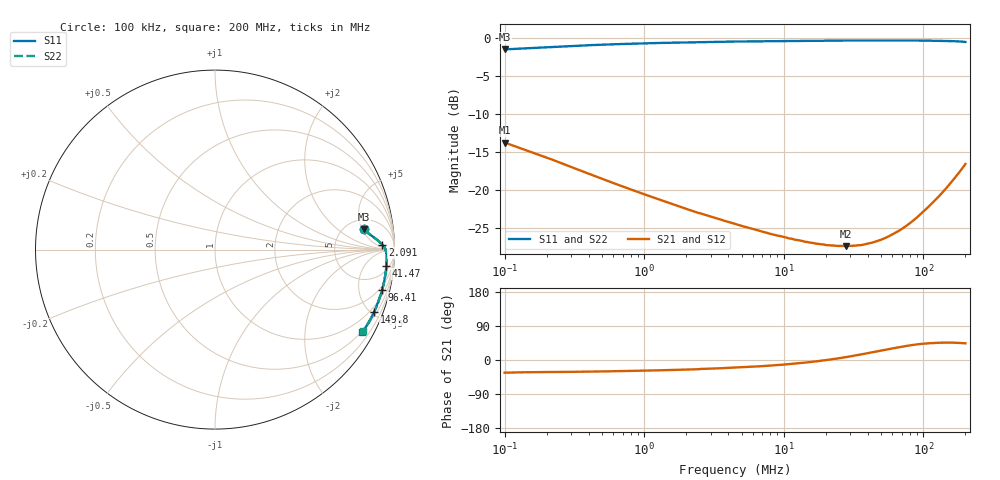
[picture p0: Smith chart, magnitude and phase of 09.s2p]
#  HZ  S  RI  R  50.00
! Rohde & Schwarz Vector Network Analyzer
! Rohde-Schwarz,ZNLE6-2Port,1323001256200024,1.71.1.10-23.02.1.238
! Created: UTC 4/11/2025, 7:02:53 AM
! freq[Hz]  re:S11  im:S11  re:S21  im:S21  re:S12  im:S12  re:S22  im:S22
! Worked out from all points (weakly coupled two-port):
!   1001 points, 100 kHz to 200 MHz, reference 50 ohm
!   highest |S21| = -13.77 dB at 100 kHz (marker M1); lowest = -27.4 dB at 27.72 MHz (marker M2)
!   lowest |S11| = -1.5 dB at 100 kHz (marker M3), VSWR 11.39, Z = 360 + j273 ohm
!   |S11| at or under -10 dB: nowhere
!   |S22| runs from -1.5 to -0.4 dB; largest |S21 - S12| = 0.0028
!   S11 on the Smith chart (normalised r, x): 100 kHz: 7.20, +5.46; 2.091 MHz: 25, +10; 41.47 MHz: 8, -18; 96.41 MHz: 1.51, -8.22; 149.8 MHz: 0.70, -5.19; 200 MHz: 0.49, -3.76
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100000  0.831 0.1124  0.1708 -0.1132  0.1711 -0.1133  0.8307 0.1123
187925.4  0.8596 0.0873  0.1417 -0.0881  0.1419 -0.0882  0.8595 0.0873
355854.1  0.8868 0.0676  0.1144 -0.0685  0.1144 -0.0686  0.8866 0.0676
1266322  0.9232 0.0368  0.0772 -0.0398  0.0772 -0.0399  0.9232 0.0369
2091279  0.9329 0.0271  0.0672 -0.0314  0.0672 -0.0315  0.9329 0.0272
4472136  0.9442 0.0117  0.0563 -0.0205  0.0561 -0.0209  0.9447 0.0134
8796434  0.9513 -0.00495  0.049 -0.0118  0.049 -0.0129  0.9514 -0.00373
1.591428e7  0.9553 -0.0254  0.0448 -0.00391  0.0447 -0.00431  0.9554 -0.0245
2.060734e7  0.9564 -0.0385  0.0434 0.000229  0.0434 -0.00071  0.9565 -0.0369
2.771802e7  0.9568 -0.0569  0.0424 0.0056  0.0425 0.00465  0.957 -0.0551
3.535047e7  0.9561 -0.0764  0.0421 0.0107  0.0422 0.00986  0.9564 -0.074
4.146835e7  0.9552 -0.0915  0.0422 0.0147  0.0424 0.014  0.9556 -0.089
4.864502e7  0.9535 -0.1092  0.0427 0.0192  0.0429 0.0184  0.954 -0.1062
5.663162e7  0.9511 -0.1286  0.0435 0.024  0.0438 0.0231  0.9518 -0.1253
6.643251e7  0.9476 -0.1527  0.0447 0.0298  0.0458 0.0285  0.9482 -0.1484
7.445538e7  0.9439 -0.1713  0.0462 0.0345  0.0468 0.0334  0.9447 -0.1673
9.641201e7  0.9321 -0.2226  0.0516 0.0471  0.0526 0.046  0.9331 -0.2184
1.20188e8  0.9142 -0.2775  0.06 0.0599  0.0611 0.0587  0.9162 -0.2732
1.498273e8  0.8859 -0.3483  0.0737 0.076  0.0748 0.0745  0.8892 -0.342
1.731053e8  0.8587 -0.4019  0.0874 0.0884  0.089 0.0865  0.8628 -0.395
1.940108e8  0.8282 -0.4481  0.1021 0.0992  0.104 0.0971  0.8333 -0.4412
2e8  0.8179 -0.4601  0.1066 0.103  0.1084 0.1009  0.8238 -0.4538
